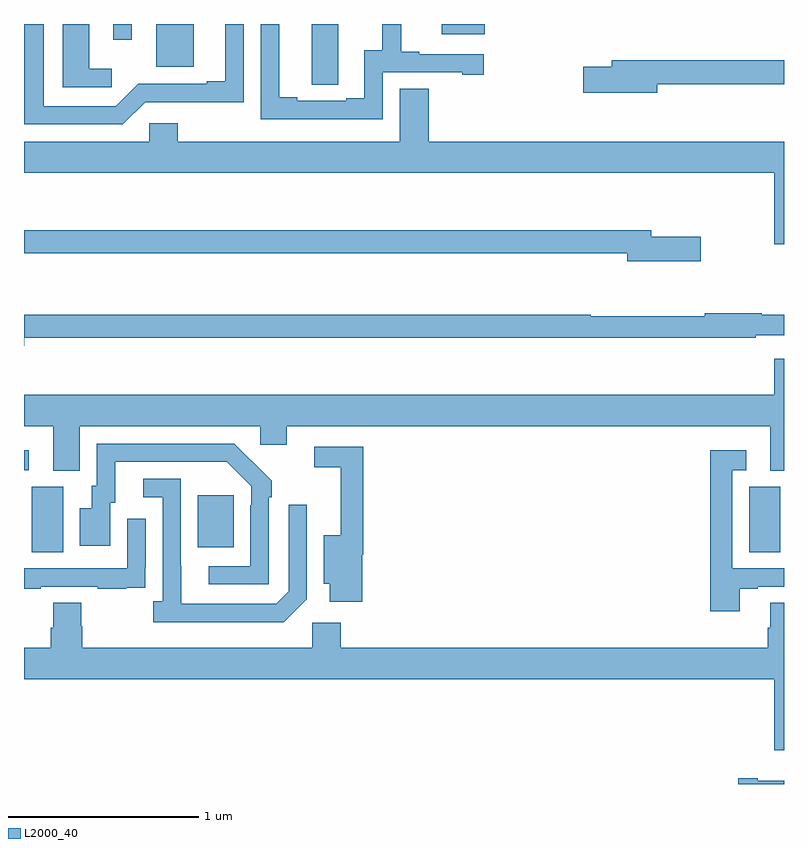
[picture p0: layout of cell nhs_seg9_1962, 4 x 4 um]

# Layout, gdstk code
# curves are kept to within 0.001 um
import gdstk
lib = gdstk.Library(unit=1e-6, precision=1e-09)
def R(c, l, rs):  # rectangles x0, y0, x1, y1
    for r in rs: c.add(gdstk.rectangle(r[:2], r[2:], *l))
def P(c, l, *ps):  # polygons
    for p in ps: c.add(gdstk.Polygon(p, *l))
L2000_40 = (2000, 40)

nhs_seg9_1962 = lib.new_cell('nhs_seg9_1962')
R(nhs_seg9_1962, L2000_40, [(221.042,1231.72,221.206,1232.064), (224.816,1231.72,224.98,1232.064), (221.915,1231.745,222.103,1232.02), (221,1232.151,221.026,1232.257), (221.696,1234.274,221.893,1234.5), (221.469,1234.416,221.566,1234.5), (223.199,1234.445,223.426,1234.5)])
P(nhs_seg9_1962, L2000_40, [(222.888,1234.245),(223.307,1234.245),(223.307,1234.233),(223.42,1234.233),(223.42,1234.341),(223.081,1234.341),(223.081,1234.354),(222.986,1234.354),(222.986,1234.5),(222.886,1234.5),(222.886,1234.361),(222.791,1234.361),(222.791,1234.11),(222.695,1234.11),(222.695,1234.095),(222.439,1234.095),(222.439,1234.115),(222.343,1234.115),(222.343,1234.5),(222.246,1234.5),(222.246,1233.999),(222.888,1233.999)],
  [(221.637,1234.089),(222.156,1234.088),(222.156,1234.5),(222.059,1234.5),(222.059,1234.198),(221.963,1234.198),(221.963,1234.185),(221.601,1234.185),(221.484,1234.068),(221.104,1234.068),(221.104,1234.5),(221,1234.5),(221,1233.972),(221.52,1233.972)],
  [(221.461,1234.264),(221.344,1234.264),(221.344,1234.5),(221.204,1234.5),(221.204,1234.167),(221.461,1234.167)],
  [(222.654,1234.288),(222.655,1234.288),(222.655,1234.5),(222.515,1234.5),(222.515,1234.18),(222.654,1234.18)],
  [(224.332,1234.182),(225,1234.182),(225,1234.31),(224.093,1234.31),(224.093,1234.274),(223.944,1234.274),(223.944,1234.139),(224.332,1234.139)],
  [(225,1233.88),(223.13,1233.88),(223.13,1234.16),(222.977,1234.16),(222.977,1233.88),(221.81,1233.88),(221.81,1233.978),(221.658,1233.978),(221.658,1233.88),(221,1233.88),(221,1233.716),(224.948,1233.716),(224.948,1233.342),(225,1233.342)],
  [(224.563,1233.381),(224.302,1233.381),(224.302,1233.415),(221,1233.415),(221,1233.294),(224.174,1233.294),(224.174,1233.251),(224.563,1233.251)],
  [(221.002,1232.85),(224.852,1232.85),(224.852,1232.862),(225,1232.862),(225,1232.971),(224.884,1232.971),(224.884,1232.978),(224.584,1232.978),(224.584,1232.963),(223.984,1232.963),(223.984,1232.971),(221,1232.971),(221,1232.807),(221.002,1232.807)],
  [(221.293,1232.384),(222.243,1232.384),(222.243,1232.286),(222.382,1232.286),(222.382,1232.384),(224.927,1232.384),(224.927,1232.149),(225,1232.149),(225,1232.737),(224.948,1232.737),(224.948,1232.548),(221,1232.548),(221,1232.384),(221.153,1232.384),(221.153,1232.149),(221.293,1232.149)],
  [(222.288,1232.009),(222.303,1232.009),(222.303,1232.097),(222.106,1232.292),(221.382,1232.292),(221.382,1232.07),(221.357,1232.07),(221.357,1231.951),(221.294,1231.951),(221.294,1231.755),(221.455,1231.755),(221.455,1231.98),(221.479,1231.98),(221.479,1232.196),(222.067,1232.196),(222.195,1232.067),(222.195,1231.967),(222.192,1231.967),(222.192,1231.647),(221.973,1231.647),(221.973,1231.551),(222.288,1231.551)],
  [(222.779,1231.706),(222.785,1231.706),(222.785,1232.274),(222.528,1232.274),(222.528,1232.166),(222.668,1232.166),(222.668,1231.81),(222.578,1231.81),(222.578,1231.553),(222.608,1231.553),(222.608,1231.458),(222.779,1231.458)],
  [(224.767,1231.527),(224.863,1231.527),(224.863,1231.539),(225,1231.539),(225,1231.635),(224.727,1231.635),(224.727,1232.151),(224.8,1232.151),(224.8,1232.257),(224.611,1232.257),(224.611,1231.41),(224.767,1231.41)],
  [(222.489,1231.473),(222.489,1231.969),(222.393,1231.969),(222.393,1231.515),(222.327,1231.449),(221.827,1231.449),(221.826,1232.106),(221.628,1232.106),(221.628,1232.01),(221.73,1232.01),(221.73,1231.462),(221.679,1231.462),(221.679,1231.352),(222.368,1231.352)],
  [(221.089,1231.539),(221.389,1231.539),(221.389,1231.527),(221.537,1231.527),(221.537,1231.533),(221.639,1231.533),(221.639,1231.642),(221.64,1231.642),(221.64,1231.897),(221.544,1231.897),(221.544,1231.635),(221,1231.635),(221,1231.527),(221.089,1231.527)],
  [(225,1231.454),(224.927,1231.454),(224.927,1231.322),(224.915,1231.322),(224.915,1231.216),(222.668,1231.216),(222.668,1231.348),(222.516,1231.348),(222.516,1231.216),(221.306,1231.216),(221.306,1231.329),(221.301,1231.329),(221.301,1231.454),(221.153,1231.454),(221.153,1231.322),(221.141,1231.322),(221.141,1231.216),(221,1231.216),(221,1231.052),(224.948,1231.052),(224.948,1230.678),(225,1230.678)],
  [(225,1230.517),(224.863,1230.517),(224.863,1230.53),(224.759,1230.53),(224.759,1230.5),(225,1230.5)])

lib.write_gds('nhs_seg9_1962.gds')
